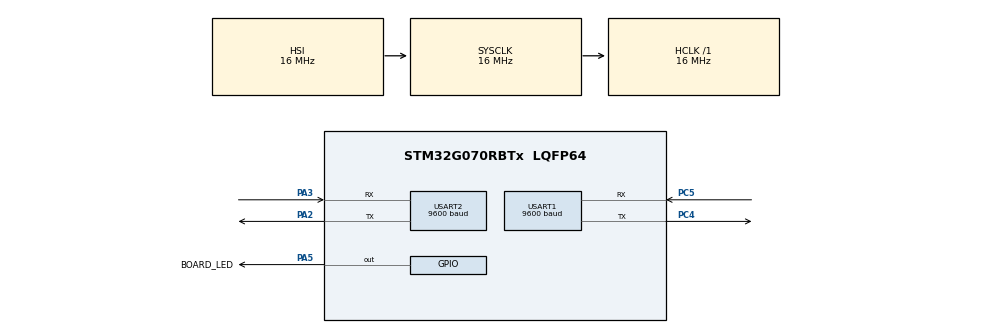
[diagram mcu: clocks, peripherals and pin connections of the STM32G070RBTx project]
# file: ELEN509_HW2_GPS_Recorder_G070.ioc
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Mcu.Family=STM32G0
Mcu.Name=STM32G070RBTx
Mcu.Package=LQFP64
NVIC.USART1_IRQn=true\:0\:0\:false\:false\:true\:true\:true
NVIC.USART2_IRQn=true\:0\:0\:false\:false\:true\:true\:true
PA2.Mode=Asynchronous
PA2.Signal=USART2_TX
PA3.Mode=Asynchronous
PA3.Signal=USART2_RX
PA5.GPIO_Label=BOARD_LED
PA5.Signal=GPIO_Output
PC4.Mode=Asynchronous
PC4.Signal=USART1_TX
PC5.Mode=Asynchronous
PC5.Signal=USART1_RX
ProjectManager.HeapSize=0x200
ProjectManager.StackSize=0x400
ProjectManager.TargetToolchain=EWARM V8.32
RCC.AHBFreq_Value=16000000
RCC.CortexFreq_Value=16000000
RCC.EXTERNAL_CLOCK_VALUE=48000
RCC.HCLKFreq_Value=16000000
RCC.HSE_VALUE=8000000
RCC.HSI_VALUE=16000000
RCC.LSE_VALUE=32768
RCC.SYSCLKFreq_VALUE=16000000
RCC.VCOOutputFreq_Value=128000000
USART1.BaudRate=9600
USART1.VirtualMode-Asynchronous=VM_ASYNC
USART2.BaudRate=9600
USART2.VirtualMode-Asynchronous=VM_ASYNC
VP_SYS_VS_DBSignals.Mode=DisableDeadBatterySignals
board=custom

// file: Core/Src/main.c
/* USER CODE BEGIN Header */
/**
  ******************************************************************************
  * @file           : main.c
  * @brief          : Main program body
  ******************************************************************************
  * @attention
  *
  * <h2><center>&copy; Copyright (c) 2022 STMicroelectronics.
  * All rights reserved.</center></h2>
  *
  * This software component is licensed by ST under BSD 3-Clause license,
  * the "License"; You may not use this file except in compliance with the
  * License. You may obtain a copy of the License at:
  *                        opensource.org/licenses/BSD-3-Clause
  *
  ******************************************************************************
  */
/* USER CODE END Header */
#include "main.h"

/* USER CODE BEGIN Includes */
#include "Scheduler.h"
#include "serial.h"
#include "serial_user.h"
#include <stm32g0xx_ll_usart.h>
/* USER CODE END Includes */

UART_HandleTypeDef huart1;
UART_HandleTypeDef huart2;

/* USER CODE BEGIN PV */
// scheduler stuff
extern uint8_t ten_mS_Flag;
extern uint8_t twentyfive_mS_Flag;
extern uint8_t hundred_mS_Flag;
extern uint8_t one_S_Flag;

// Comm interface
extern uint8_t processPacket;

/* USER CODE END PV */

void SystemClock_Config(void);
static void MX_GPIO_Init(void);
static void MX_USART1_UART_Init(void);
static void MX_USART2_UART_Init(void);

int main(void)
{

  /* MCU Configuration--------------------------------------------------------*/

  /* Reset of all peripherals, Initializes the Flash interface and the Systick. */
  HAL_Init();

  /* Configure the system clock */
  SystemClock_Config();

  /* Initialize all configured peripherals */
  MX_GPIO_Init();
  MX_USART1_UART_Init();
  MX_USART2_UART_Init();
  /* USER CODE BEGIN 2 */
  LL_USART_EnableIT_RXNE_RXFNE(USART1);
  /* USER CODE END 2 */

  /* Infinite loop */
  /* USER CODE BEGIN WHILE */
  while (1)
  {
    //---------------------------------
    // 10mS Tasks
    if (ten_mS_Flag) {
      ten_mS_Flag = false;

    }  // end of 10mS Tasks
    //---------------------------------

    //---------------------------------
    // 25mS Tasks
    if (twentyfive_mS_Flag) {
      twentyfive_mS_Flag = false;

    }  // end of 25mS Tasks
    //---------------------------------

    //---------------------------------
    // 100mS Tasks
    if (hundred_mS_Flag) {
      hundred_mS_Flag = false;

    }  // end of 100mS Tasks
    //---------------------------------

    //---------------------------------
    // 1 Sec Tasks
    if (one_S_Flag) {
      one_S_Flag = false;

    } // end of 1Sec Tasks
    //---------------------------------

    //---------------------------------
    // Every time through the loop
    if (nextSerialRxIn != nextSerialRx2Proc) {
      ProcessReceiveBuffer();
    }

    if (processPacket == true) {
      processPacket = false;

      ProcessPacket();
    }
    // end Every time through the loop
    //---------------------------------
    /* USER CODE END WHILE */

  }
}

void SystemClock_Config(void)
{
  RCC_OscInitTypeDef RCC_OscInitStruct = {0};
  RCC_ClkInitTypeDef RCC_ClkInitStruct = {0};
  RCC_PeriphCLKInitTypeDef PeriphClkInit = {0};

  /** Configure the main internal regulator output voltage
  */
  HAL_PWREx_ControlVoltageScaling(PWR_REGULATOR_VOLTAGE_SCALE1);
  /** Initializes the RCC Oscillators according to the specified parameters
  * in the RCC_OscInitTypeDef structure.
  */
  RCC_OscInitStruct.OscillatorType = RCC_OSCILLATORTYPE_HSI;
  RCC_OscInitStruct.HSIState = RCC_HSI_ON;
  RCC_OscInitStruct.HSIDiv = RCC_HSI_DIV1;
  RCC_OscInitStruct.HSICalibrationValue = RCC_HSICALIBRATION_DEFAULT;
  RCC_OscInitStruct.PLL.PLLState = RCC_PLL_NONE;
  if (HAL_RCC_OscConfig(&RCC_OscInitStruct) != HAL_OK)
  {
    Error_Handler();
  }
  /** Initializes the CPU, AHB and APB buses clocks
  */
  RCC_ClkInitStruct.ClockType = RCC_CLOCKTYPE_HCLK|RCC_CLOCKTYPE_SYSCLK
                              |RCC_CLOCKTYPE_PCLK1;
  RCC_ClkInitStruct.SYSCLKSource = RCC_SYSCLKSOURCE_HSI;
  RCC_ClkInitStruct.AHBCLKDivider = RCC_SYSCLK_DIV1;
  RCC_ClkInitStruct.APB1CLKDivider = RCC_HCLK_DIV1;

  if (HAL_RCC_ClockConfig(&RCC_ClkInitStruct, FLASH_LATENCY_0) != HAL_OK)
  {
    Error_Handler();
  }
  /** Initializes the peripherals clocks
  */
  PeriphClkInit.PeriphClockSelection = RCC_PERIPHCLK_USART1|RCC_PERIPHCLK_USART2;
  PeriphClkInit.Usart1ClockSelection = RCC_USART1CLKSOURCE_PCLK1;
  PeriphClkInit.Usart2ClockSelection = RCC_USART2CLKSOURCE_PCLK1;
  if (HAL_RCCEx_PeriphCLKConfig(&PeriphClkInit) != HAL_OK)
  {
    Error_Handler();
  }
}

static void MX_USART1_UART_Init(void)
{

  huart1.Instance = USART1;
  huart1.Init.BaudRate = 9600;
  huart1.Init.WordLength = UART_WORDLENGTH_8B;
  huart1.Init.StopBits = UART_STOPBITS_1;
  huart1.Init.Parity = UART_PARITY_NONE;
  huart1.Init.Mode = UART_MODE_TX_RX;
  huart1.Init.HwFlowCtl = UART_HWCONTROL_NONE;
  huart1.Init.OverSampling = UART_OVERSAMPLING_16;
  huart1.Init.OneBitSampling = UART_ONE_BIT_SAMPLE_DISABLE;
  huart1.Init.ClockPrescaler = UART_PRESCALER_DIV1;
  huart1.AdvancedInit.AdvFeatureInit = UART_ADVFEATURE_NO_INIT;
  if (HAL_UART_Init(&huart1) != HAL_OK)
  {
    Error_Handler();
  }
  if (HAL_UARTEx_SetTxFifoThreshold(&huart1, UART_TXFIFO_THRESHOLD_1_8) != HAL_OK)
  {
    Error_Handler();
  }
  if (HAL_UARTEx_SetRxFifoThreshold(&huart1, UART_RXFIFO_THRESHOLD_1_8) != HAL_OK)
  {
    Error_Handler();
  }
  if (HAL_UARTEx_DisableFifoMode(&huart1) != HAL_OK)
  {
    Error_Handler();
  }

}

static void MX_USART2_UART_Init(void)
{

  huart2.Instance = USART2;
  huart2.Init.BaudRate = 9600;
  huart2.Init.WordLength = UART_WORDLENGTH_8B;
  huart2.Init.StopBits = UART_STOPBITS_1;
  huart2.Init.Parity = UART_PARITY_NONE;
  huart2.Init.Mode = UART_MODE_TX_RX;
  huart2.Init.HwFlowCtl = UART_HWCONTROL_NONE;
  huart2.Init.OverSampling = UART_OVERSAMPLING_16;
  huart2.Init.OneBitSampling = UART_ONE_BIT_SAMPLE_DISABLE;
  huart2.Init.ClockPrescaler = UART_PRESCALER_DIV1;
  huart2.AdvancedInit.AdvFeatureInit = UART_ADVFEATURE_NO_INIT;
  if (HAL_UART_Init(&huart2) != HAL_OK)
  {
    Error_Handler();
  }
  if (HAL_UARTEx_SetTxFifoThreshold(&huart2, UART_TXFIFO_THRESHOLD_1_8) != HAL_OK)
  {
    Error_Handler();
  }
  if (HAL_UARTEx_SetRxFifoThreshold(&huart2, UART_RXFIFO_THRESHOLD_1_8) != HAL_OK)
  {
    Error_Handler();
  }
  if (HAL_UARTEx_DisableFifoMode(&huart2) != HAL_OK)
  {
    Error_Handler();
  }

}

static void MX_GPIO_Init(void)
{
  GPIO_InitTypeDef GPIO_InitStruct = {0};

  /* GPIO Ports Clock Enable */
  __HAL_RCC_GPIOA_CLK_ENABLE();
  __HAL_RCC_GPIOC_CLK_ENABLE();

  /*Configure GPIO pin Output Level */
  HAL_GPIO_WritePin(BOARD_LED_GPIO_Port, BOARD_LED_Pin, GPIO_PIN_RESET);

  /*Configure GPIO pin : BOARD_LED_Pin */
  GPIO_InitStruct.Pin = BOARD_LED_Pin;
  GPIO_InitStruct.Mode = GPIO_MODE_OUTPUT_PP;
  GPIO_InitStruct.Pull = GPIO_NOPULL;
  GPIO_InitStruct.Speed = GPIO_SPEED_FREQ_LOW;
  HAL_GPIO_Init(BOARD_LED_GPIO_Port, &GPIO_InitStruct);

}

void Error_Handler(void)
{
  __disable_irq();
  while (1)
  {
  }
}

/************************ (C) COPYRIGHT STMicroelectronics *****END OF FILE****/
